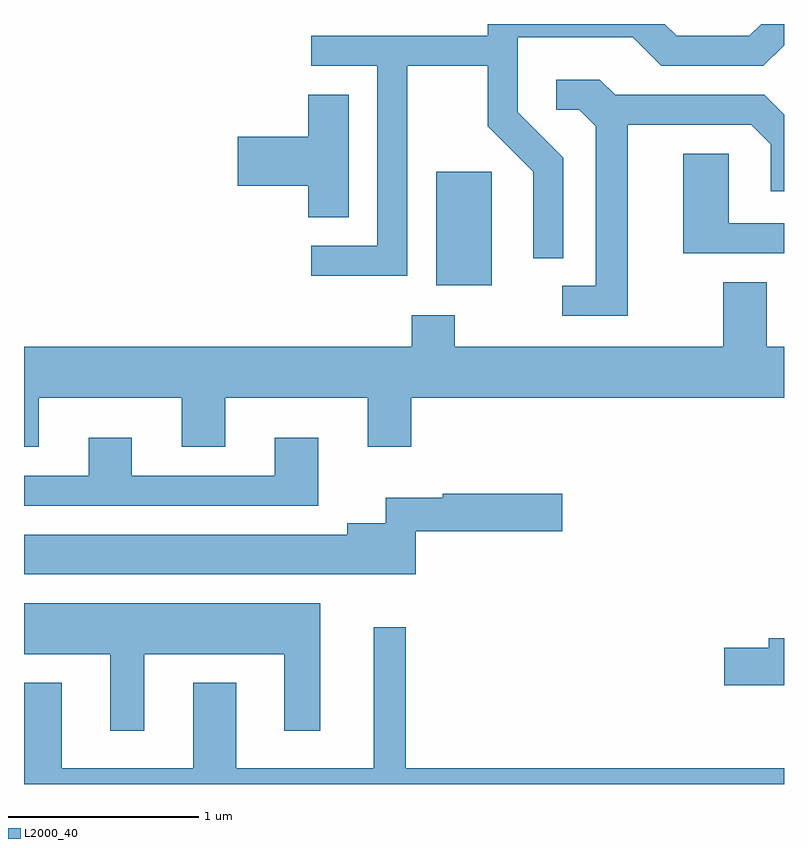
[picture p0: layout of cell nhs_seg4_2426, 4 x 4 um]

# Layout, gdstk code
import gdstk
lib = gdstk.Library(unit=1e-6, precision=1e-09)
def R(c, l, rs):  # rectangles x0, y0, x1, y1
    for r in rs: c.add(gdstk.rectangle(r[:2], r[2:], *l))
def P(c, l, *ps):  # polygons
    for p in ps: c.add(gdstk.Polygon(p, *l))
L2000_40 = (2000, 40)

nhs_seg4_2426 = lib.new_cell('nhs_seg4_2426')
R(nhs_seg4_2426, L2000_40, [(257.781,1348.606,258.074,1349.204)])
P(nhs_seg4_2426, L2000_40, [(257.629,1349.761),(258.051,1349.761),(258.051,1349.444),(258.291,1349.204),(258.291,1348.748),(258.449,1348.748),(258.449,1349.277),(258.209,1349.517),(258.209,1349.911),(258.814,1349.911),(258.964,1349.761),(259.502,1349.761),(259.611,1349.87),(259.611,1349.982),(259.492,1349.982),(259.429,1349.919),(259.046,1349.919),(258.983,1349.982),(258.051,1349.982),(258.051,1349.919),(257.123,1349.919),(257.123,1349.761),(257.471,1349.761),(257.471,1348.814),(257.123,1348.814),(257.123,1348.656),(257.629,1348.656)],
  [(258.789,1349.451),(259.439,1349.451),(259.541,1349.349),(259.541,1349.103),(259.611,1349.103),(259.611,1349.505),(259.507,1349.609),(258.722,1349.609),(258.642,1349.689),(258.413,1349.689),(258.413,1349.531),(258.534,1349.531),(258.621,1349.444),(258.621,1348.604),(258.443,1348.604),(258.443,1348.446),(258.789,1348.446)],
  [(257.319,1349.609),(257.106,1349.609),(257.106,1349.389),(256.736,1349.389),(256.736,1349.131),(257.106,1349.131),(257.106,1348.966),(257.319,1348.966)],
  [(259.611,1348.934),(259.319,1348.934),(259.319,1349.299),(259.081,1349.299),(259.081,1348.776),(259.611,1348.776)],
  [(255.689,1348.016),(256.441,1348.016),(256.441,1347.756),(256.669,1347.756),(256.669,1348.016),(257.421,1348.016),(257.421,1347.756),(257.649,1347.756),(257.649,1348.016),(259.611,1348.016),(259.611,1348.284),(259.519,1348.284),(259.519,1348.624),(259.291,1348.624),(259.291,1348.284),(257.879,1348.284),(257.879,1348.449),(257.651,1348.449),(257.651,1348.284),(255.611,1348.284),(255.611,1347.756),(255.689,1347.756)],
  [(257.159,1347.804),(256.931,1347.804),(256.931,1347.604),(256.179,1347.604),(256.179,1347.804),(255.951,1347.804),(255.951,1347.604),(255.611,1347.604),(255.611,1347.446),(257.159,1347.446)],
  [(257.674,1347.311),(258.444,1347.311),(258.444,1347.509),(257.816,1347.509),(257.816,1347.489),(257.516,1347.489),(257.516,1347.354),(257.311,1347.354),(257.311,1347.294),(255.611,1347.294),(255.611,1347.086),(257.674,1347.086)],
  [(256.244,1346.666),(256.981,1346.666),(256.981,1346.261),(257.169,1346.261),(257.169,1346.934),(255.611,1346.934),(255.611,1346.666),(256.066,1346.666),(256.066,1346.261),(256.244,1346.261)],
  [(259.611,1346.064),(257.619,1346.064),(257.619,1346.808),(257.451,1346.808),(257.451,1346.064),(256.729,1346.064),(256.729,1346.514),(256.501,1346.514),(256.501,1346.064),(255.809,1346.064),(255.809,1346.514),(255.611,1346.514),(255.611,1345.982),(259.611,1345.982)],
  [(259.611,1346.749),(259.531,1346.749),(259.531,1346.699),(259.296,1346.699),(259.296,1346.501),(259.611,1346.501)])

lib.write_gds('nhs_seg4_2426.gds')
